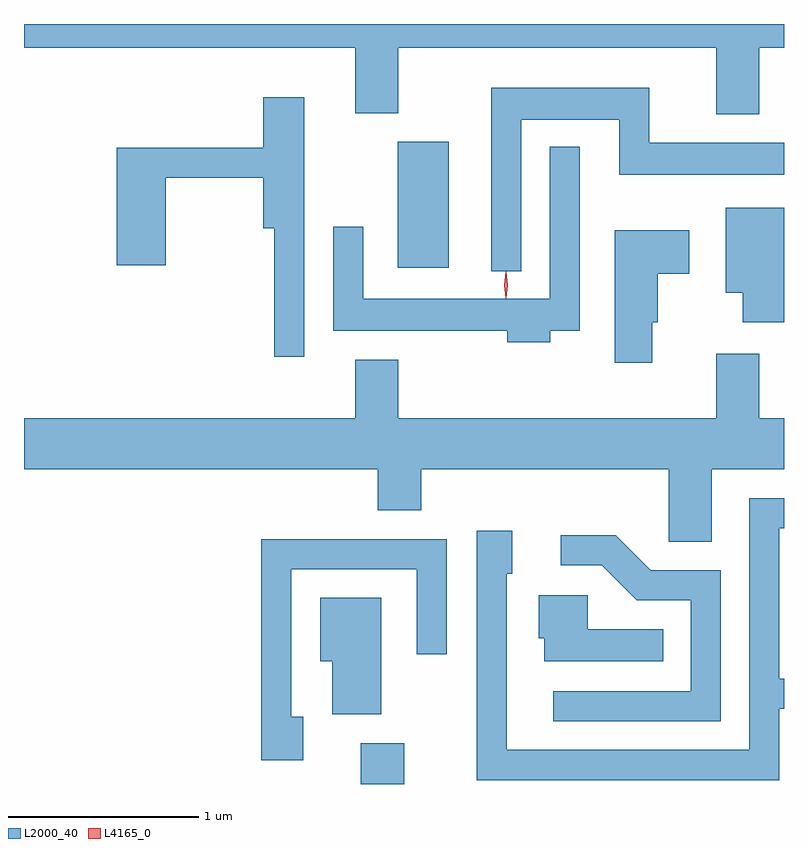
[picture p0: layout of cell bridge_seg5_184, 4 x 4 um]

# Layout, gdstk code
import gdstk
lib = gdstk.Library(unit=1e-6, precision=1e-09)
def R(c, l, rs):  # rectangles x0, y0, x1, y1
    for r in rs: c.add(gdstk.rectangle(r[:2], r[2:], *l))
def P(c, l, *ps):  # polygons
    for p in ps: c.add(gdstk.Polygon(p, *l))
L2000_40 = (2000, 40)
L4165_0 = (4165, 0)

bridge_seg5_184 = lib.new_cell('bridge_seg5_184')
R(bridge_seg5_184, L2000_40, [(1300.651,1421.84,1300.879,1422.054), (1300.846,1424.556,1301.114,1425.219)])
P(bridge_seg5_184, L2000_40, [(1302.749,1425.716),(1302.878,1425.716),(1302.878,1425.84),(1298.878,1425.84),(1298.878,1425.716),(1300.621,1425.716),(1300.621,1425.371),(1300.849,1425.371),(1300.849,1425.716),(1302.521,1425.716),(1302.521,1425.366),(1302.749,1425.366)],
  [(1301.494,1425.336),(1302.011,1425.336),(1302.011,1425.046),(1302.878,1425.046),(1302.878,1425.214),(1302.169,1425.214),(1302.169,1425.504),(1301.336,1425.504),(1301.336,1424.538),(1301.494,1424.538)],
  [(1300.354,1425.454),(1300.136,1425.454),(1300.136,1425.189),(1299.366,1425.189),(1299.366,1424.571),(1299.624,1424.571),(1299.624,1425.031),(1300.136,1425.031),(1300.136,1424.766),(1300.196,1424.766),(1300.196,1424.088),(1300.354,1424.088)],
  [(1301.649,1424.226),(1301.804,1424.226),(1301.804,1425.193),(1301.646,1425.193),(1301.646,1424.394),(1300.664,1424.394),(1300.664,1424.773),(1300.506,1424.773),(1300.506,1424.226),(1301.421,1424.226),(1301.421,1424.166),(1301.649,1424.166)],
  [(1302.878,1424.874),(1302.571,1424.874),(1302.571,1424.426),(1302.661,1424.426),(1302.661,1424.271),(1302.878,1424.271)],
  [(1302.184,1424.271),(1302.214,1424.271),(1302.214,1424.526),(1302.379,1424.526),(1302.379,1424.754),(1301.986,1424.754),(1301.986,1424.056),(1302.184,1424.056)],
  [(1302.499,1423.496),(1302.878,1423.496),(1302.878,1423.764),(1302.749,1423.764),(1302.749,1424.104),(1302.521,1424.104),(1302.521,1423.764),(1300.849,1423.764),(1300.849,1424.074),(1300.621,1424.074),(1300.621,1423.764),(1298.878,1423.764),(1298.878,1423.496),(1300.741,1423.496),(1300.741,1423.281),(1300.969,1423.281),(1300.969,1423.496),(1302.271,1423.496),(1302.271,1423.116),(1302.499,1423.116)],
  [(1302.854,1422.236),(1302.878,1422.236),(1302.878,1422.394),(1302.854,1422.394),(1302.854,1423.186),(1302.878,1423.186),(1302.878,1423.344),(1302.696,1423.344),(1302.696,1422.019),(1301.419,1422.019),(1301.419,1422.946),(1301.449,1422.946),(1301.449,1423.174),(1301.261,1423.174),(1301.261,1421.861),(1302.854,1421.861)],
  [(1302.544,1422.964),(1302.177,1422.964),(1301.992,1423.149),(1301.703,1423.149),(1301.703,1422.991),(1301.919,1422.991),(1302.104,1422.806),(1302.386,1422.806),(1302.386,1422.329),(1301.663,1422.329),(1301.663,1422.171),(1302.544,1422.171)],
  [(1300.349,1422.194),(1300.284,1422.194),(1300.284,1422.971),(1300.946,1422.971),(1300.946,1422.523),(1301.104,1422.523),(1301.104,1423.129),(1300.126,1423.129),(1300.126,1421.966),(1300.349,1421.966)],
  [(1302.243,1422.654),(1301.844,1422.654),(1301.844,1422.834),(1301.586,1422.834),(1301.586,1422.606),(1301.616,1422.606),(1301.616,1422.486),(1302.243,1422.486)],
  [(1300.759,1422.819),(1300.436,1422.819),(1300.436,1422.486),(1300.501,1422.486),(1300.501,1422.206),(1300.759,1422.206)])
P(bridge_seg5_184, L4165_0, [(1301.415,1424.399),(1301.414,1424.4),(1301.405,1424.466),(1301.414,1424.532),(1301.415,1424.533),(1301.415,1424.532),(1301.425,1424.466),(1301.415,1424.4)],
  [(1301.414,1424.397),(1301.405,1424.466),(1301.414,1424.536),(1301.415,1424.536),(1301.416,1424.536),(1301.425,1424.466),(1301.416,1424.397),(1301.415,1424.397)])

lib.write_gds('bridge_seg5_184.gds')
